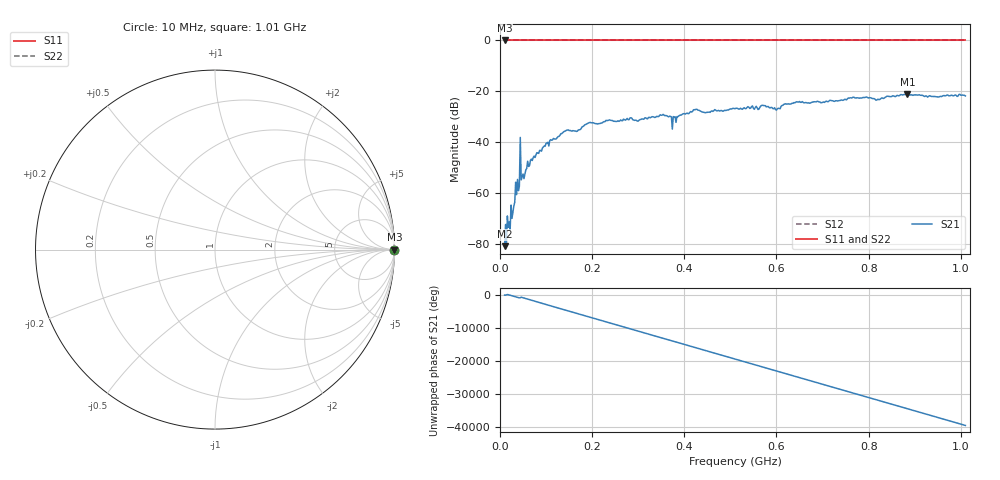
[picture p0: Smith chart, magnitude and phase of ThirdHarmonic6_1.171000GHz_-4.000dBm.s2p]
! 8/16/2025 11:51:03 AM
! C:\ANRITSUVNA\TEMP\TEMP.S2P
! CHANNEL.1
! TR.MEASUREMENT
! RAW.DATA
! RF.CORRECTION.OFF
! AVERAGING.OFF
! IF.BANDWIDTH: 5KHZ
! SWEEPTYPE:  FREQ.SWEEP(Linear)
! Reference Plane Port Info
! PORT:  PORT1  PORT2
! DISTANCE:  0  m  0  m
! TIME:  0  s  0  s
! PHASE.OFFSET:  0  deg.  0  deg.
! LOSS:  0  dB  0  dB
! REF.LOSS:  0  dB  0  dB
! REF.FREQ:  0  Hz  0  Hz
! Power Info
! POWER:  -20  dBm  -20  dBm
! EFF.POWER:  -20  dBm  -20  dBm
! SOURCE.ATTEN:  0  dB  0  dB
! TEST.ATTEN:  0  dB  0  dB
# GHZ S RI R 50.0
! FREQ.GHZ  S11RE  S11IM  S21RE  S21IM  S12RE  S12IM  S22RE  S22IM
!; PortSelection: Port_12
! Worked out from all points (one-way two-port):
!   501 points, 10 MHz to 1.01 GHz, reference 50 ohm
!   highest |S21| = -21.12 dB at 884 MHz (marker M1); lowest = -80.8 dB at 10 MHz (marker M2)
!   lowest |S11| = 0.0 dB at 10 MHz (marker M3)
!   |S11| at or under -10 dB: nowhere
!   |S22| runs from 0.0 to 0.0 dB; largest |S21 - S12| = 1.1
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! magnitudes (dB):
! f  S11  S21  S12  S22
! 10 MHz  0.0  -80.8  0.0  0.0
! 16 MHz  0.0  -68.9  0.0  0.0
! 18 MHz  0.0  -73.4  0.0  0.0
! 20 MHz  0.0  -71.3  0.0  0.0
! 26 MHz  0.0  -69.9  0.0  0.0
! 38 MHz  0.0  -54.6  0.0  0.0
! 40 MHz  0.0  -59.0  0.0  0.0
! 48 MHz  0.0  -53.6  0.0  0.0
! 50 MHz  0.0  -52.4  0.0  0.0
! 70 MHz  0.0  -47.1  0.0  0.0
! 112 MHz  0.0  -39.2  0.0  0.0
! 178 MHz  0.0  -33.9  0.0  0.0
! 196 MHz  0.0  -32.2  0.0  0.0
! 344 MHz  0.0  -29.9  0.0  0.0
! 378 MHz  0.0  -30.1  0.0  0.0
! 424 MHz  0.0  -27.2  0.0  0.0
! 510 MHz  0.0  -26.8  0.0  0.0
! 602 MHz  0.0  -26.8  0.0  0.0
! 678 MHz  0.0  -24.2  0.0  0.0
! 844 MHz  0.0  -22.0  0.0  0.0
! 884 MHz  0.0  -21.1  0.0  0.0
! 1.01 GHz  0.0  -21.8  0.0  0.0
